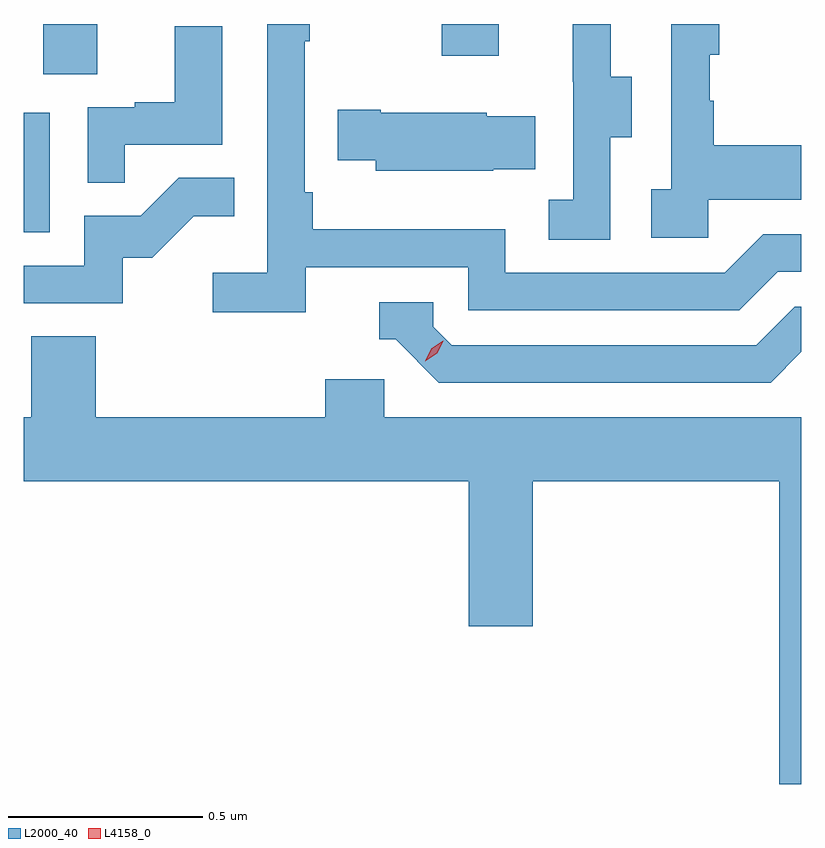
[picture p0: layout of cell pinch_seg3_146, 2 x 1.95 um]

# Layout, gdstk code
import gdstk
lib = gdstk.Library(unit=1e-6, precision=1e-09)
def R(c, l, rs):  # rectangles x0, y0, x1, y1
    for r in rs: c.add(gdstk.rectangle(r[:2], r[2:], *l))
def P(c, l, *ps):  # polygons
    for p in ps: c.add(gdstk.Polygon(p, *l))
L2000_40 = (2000, 40)
L4158_0 = (4158, 0)

pinch_seg3_146 = lib.new_cell('pinch_seg3_146')
R(pinch_seg3_146, L2000_40, [(1134.891,720.204,1134.958,720.511), (1134.941,720.61,1135.081,720.739), (1135.966,720.657,1136.113,720.739)])
P(pinch_seg3_146, L2000_40, [(1135.616,720.114),(1136.034,720.114),(1136.034,720.003),(1136.731,720.003),(1136.83,720.102),(1136.891,720.102),(1136.891,720.198),(1136.793,720.198),(1136.694,720.099),(1136.13,720.099),(1136.13,720.211),(1135.634,720.211),(1135.634,720.307),(1135.614,720.307),(1135.614,720.695),(1135.627,720.695),(1135.627,720.739),(1135.518,720.739),(1135.518,720.1),(1135.377,720.1),(1135.377,719.998),(1135.616,719.998)],
  [(1136.4,720.448),(1136.455,720.448),(1136.455,720.603),(1136.401,720.603),(1136.401,720.739),(1136.303,720.739),(1136.303,720.591),(1136.304,720.591),(1136.304,720.287),(1136.241,720.287),(1136.241,720.184),(1136.4,720.184)],
  [(1136.652,720.287),(1136.891,720.287),(1136.891,720.427),(1136.665,720.427),(1136.665,720.542),(1136.655,720.542),(1136.655,720.66),(1136.68,720.66),(1136.68,720.739),(1136.556,720.739),(1136.556,720.314),(1136.505,720.314),(1136.505,720.189),(1136.652,720.189)],
  [(1135.151,720.429),(1135.402,720.429),(1135.402,720.733),(1135.28,720.733),(1135.28,720.538),(1135.177,720.538),(1135.177,720.525),(1135.056,720.525),(1135.056,720.331),(1135.151,720.331)],
  [(1136.099,720.365),(1136.207,720.365),(1136.207,720.502),(1136.082,720.502),(1136.082,720.511),(1135.81,720.511),(1135.81,720.519),(1135.699,720.519),(1135.699,720.389),(1135.797,720.389),(1135.797,720.362),(1136.099,720.362)],
  [(1135.146,720.138),(1135.222,720.138),(1135.329,720.245),(1135.433,720.245),(1135.433,720.344),(1135.29,720.344),(1135.192,720.246),(1135.047,720.246),(1135.047,720.117),(1134.891,720.117),(1134.891,720.021),(1135.146,720.021)],
  [(1136.891,719.896),(1136.891,720.012),(1136.874,720.012),(1136.775,719.913),(1135.992,719.913),(1135.944,719.961),(1135.944,720.024),(1135.805,720.024),(1135.805,719.928),(1135.848,719.928),(1135.959,719.817),(1136.812,719.817)],
  [(1136.891,719.728),(1135.818,719.728),(1135.818,719.826),(1135.667,719.826),(1135.667,719.728),(1135.076,719.728),(1135.076,719.936),(1134.911,719.936),(1134.911,719.728),(1134.891,719.728),(1134.891,719.564),(1136.036,719.564),(1136.036,719.19),(1136.2,719.19),(1136.2,719.564),(1136.834,719.564),(1136.834,718.785),(1136.891,718.785)])
P(pinch_seg3_146, L4158_0, [(1135.924,719.872),(1135.924,719.873),(1135.94,719.905),(1135.97,719.925),(1135.97,719.925),(1135.97,719.925),(1135.955,719.892),(1135.924,719.872)])

lib.write_gds('pinch_seg3_146.gds')
